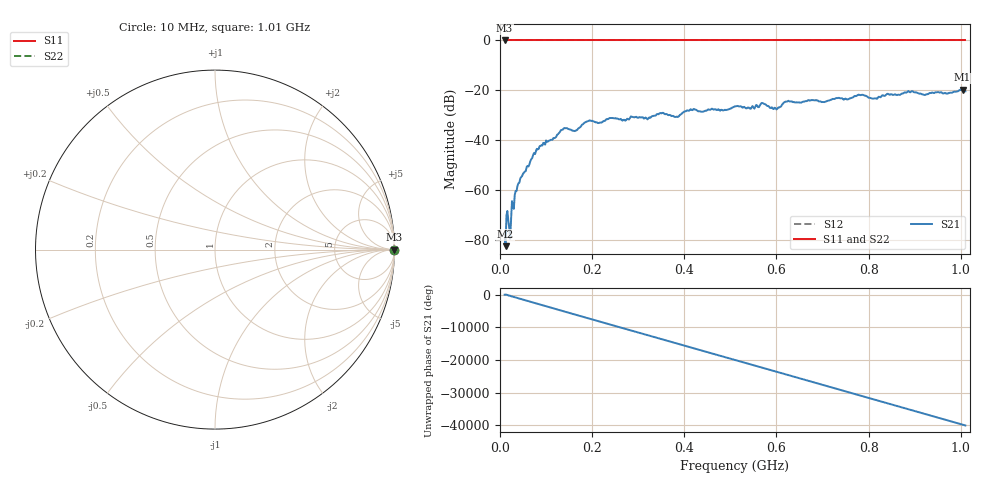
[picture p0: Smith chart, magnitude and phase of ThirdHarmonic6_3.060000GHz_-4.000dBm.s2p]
! 8/17/2025 8:54:46 AM
! C:\ANRITSUVNA\TEMP\TEMP.S2P
! CHANNEL.1
! TR.MEASUREMENT
! RAW.DATA
! RF.CORRECTION.OFF
! AVERAGING.OFF
! IF.BANDWIDTH: 5KHZ
! SWEEPTYPE:  FREQ.SWEEP(Linear)
! Reference Plane Port Info
! PORT:  PORT1  PORT2
! DISTANCE:  0  m  0  m
! TIME:  0  s  0  s
! PHASE.OFFSET:  0  deg.  0  deg.
! LOSS:  0  dB  0  dB
! REF.LOSS:  0  dB  0  dB
! REF.FREQ:  0  Hz  0  Hz
! Power Info
! POWER:  -20  dBm  -20  dBm
! EFF.POWER:  -20  dBm  -20  dBm
! SOURCE.ATTEN:  0  dB  0  dB
! TEST.ATTEN:  0  dB  0  dB
# GHZ S RI R 50.0
! FREQ.GHZ  S11RE  S11IM  S21RE  S21IM  S12RE  S12IM  S22RE  S22IM
!; PortSelection: Port_12
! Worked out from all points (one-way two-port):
!   501 points, 10 MHz to 1.01 GHz, reference 50 ohm
!   highest |S21| = -19.74 dB at 1.004 GHz (marker M1); lowest = -82.4 dB at 12 MHz (marker M2)
!   lowest |S11| = 0.0 dB at 10 MHz (marker M3)
!   |S11| at or under -10 dB: nowhere
!   |S22| runs from 0.0 to 0.0 dB; largest |S21 - S12| = 1.1
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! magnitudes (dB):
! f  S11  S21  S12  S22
! 10 MHz  0.0  -77.3  0.0  0.0
! 12 MHz  0.0  -82.4  0.0  0.0
! 24 MHz  0.0  -71.5  0.0  0.0
! 30 MHz  0.0  -67.5  0.0  0.0
! 42 MHz  0.0  -57.0  0.0  0.0
! 76 MHz  0.0  -45.5  0.0  0.0
! 136 MHz  0.0  -35.7  0.0  0.0
! 162 MHz  0.0  -36.3  0.0  0.0
! 178 MHz  0.0  -33.7  0.0  0.0
! 344 MHz  0.0  -29.5  0.0  0.0
! 384 MHz  0.0  -30.5  0.0  0.0
! 416 MHz  0.0  -27.8  0.0  0.0
! 510 MHz  0.0  -26.4  0.0  0.0
! 570 MHz  0.0  -25.1  0.0  0.0
! 598 MHz  0.0  -27.2  0.0  0.0
! 622 MHz  0.0  -24.5  0.0  0.0
! 678 MHz  0.0  -23.9  0.0  0.0
! 782 MHz  0.0  -21.9  0.0  0.0
! 814 MHz  0.0  -23.2  0.0  0.0
! 844 MHz  0.0  -21.6  0.0  0.0
! 1.004 GHz  0.0  -19.7  0.0  0.0
! 1.01 GHz  0.0  -20.3  0.0  0.0
